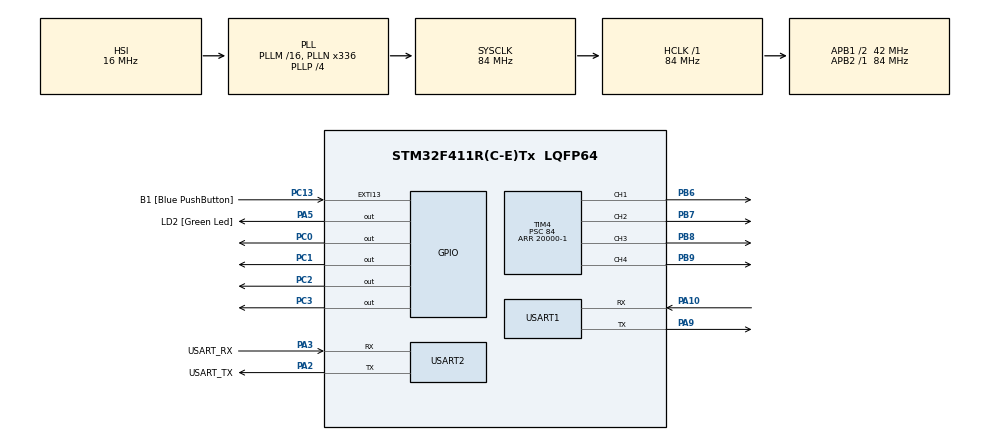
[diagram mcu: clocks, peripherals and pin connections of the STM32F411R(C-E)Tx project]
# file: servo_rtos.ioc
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Dma.Request0=USART1_RX
Dma.Request1=USART2_TX
Dma.USART1_RX.0.Direction=DMA_PERIPH_TO_MEMORY
Dma.USART1_RX.0.FIFOMode=DMA_FIFOMODE_DISABLE
Dma.USART1_RX.0.Instance=DMA2_Stream2
Dma.USART1_RX.0.MemDataAlignment=DMA_MDATAALIGN_BYTE
Dma.USART1_RX.0.MemInc=DMA_MINC_ENABLE
Dma.USART1_RX.0.Mode=DMA_NORMAL
Dma.USART1_RX.0.PeriphDataAlignment=DMA_PDATAALIGN_BYTE
Dma.USART1_RX.0.PeriphInc=DMA_PINC_DISABLE
Dma.USART1_RX.0.Priority=DMA_PRIORITY_LOW
Dma.USART2_TX.1.Direction=DMA_MEMORY_TO_PERIPH
Dma.USART2_TX.1.FIFOMode=DMA_FIFOMODE_DISABLE
Dma.USART2_TX.1.Instance=DMA1_Stream6
Dma.USART2_TX.1.MemDataAlignment=DMA_MDATAALIGN_BYTE
Dma.USART2_TX.1.MemInc=DMA_MINC_ENABLE
Dma.USART2_TX.1.Mode=DMA_NORMAL
Dma.USART2_TX.1.PeriphDataAlignment=DMA_PDATAALIGN_BYTE
Dma.USART2_TX.1.PeriphInc=DMA_PINC_DISABLE
Dma.USART2_TX.1.Priority=DMA_PRIORITY_LOW
FREERTOS.BinarySemaphores01=uartRxSem,Dynamic,NULL,Available;servo1StartSem,Dynamic,NULL,Available;servo2StartSem,Dynamic,NULL,Available;servo3StartSem,Dynamic,NULL,Available;servo4StartSem,Dynamic,NULL,Available;sequenceDoneSem,Dynamic,NULL,Available
FREERTOS.Tasks01=defaultTask,0,256,StartDefaultTask,Default,NULL,Dynamic,NULL,NULL;myTask02,-3,128,StartTask02,Default,NULL,Dynamic,NULL,NULL;myTask03,-3,128,StartTask03,Default,NULL,Dynamic,NULL,NULL;myTask04,-3,128,StartTask04,Default,NULL,Dynamic,NULL,NULL;myTask05,-3,128,StartTask05,Default,NULL,Dynamic,NULL,NULL
FREERTOS.configUSE_NEWLIB_REENTRANT=1
Mcu.Family=STM32F4
Mcu.Name=STM32F411R(C-E)Tx
Mcu.Package=LQFP64
NVIC.DMA1_Stream6_IRQn=true\:5\:0\:false\:false\:true\:true\:false\:true\:true
NVIC.DMA2_Stream2_IRQn=true\:5\:0\:false\:false\:true\:true\:false\:true\:true
NVIC.PriorityGroup=NVIC_PRIORITYGROUP_4
NVIC.TIM3_IRQn=true\:15\:0\:false\:false\:true\:false\:false\:true\:true
NVIC.TIM4_IRQn=true\:5\:0\:false\:false\:true\:true\:true\:true\:true
NVIC.TimeBase=TIM3_IRQn
NVIC.TimeBaseIP=TIM3
NVIC.USART1_IRQn=true\:5\:0\:false\:false\:true\:true\:true\:true\:true
PA10.Mode=Asynchronous
PA10.Signal=USART1_RX
PA13.GPIO_Label=TMS
PA13.Mode=Serial_Wire
PA13.Signal=SYS_JTMS-SWDIO
PA14.GPIO_Label=TCK
PA14.Mode=Serial_Wire
PA14.Signal=SYS_JTCK-SWCLK
PA2.GPIO_Label=USART_TX
PA2.Mode=Asynchronous
PA2.Signal=USART2_TX
PA3.GPIO_Label=USART_RX
PA3.Mode=Asynchronous
PA3.Signal=USART2_RX
PA5.GPIO_Label=LD2 [Green Led]
PA5.Signal=GPIO_Output
PA9.Mode=Asynchronous
PA9.Signal=USART1_TX
PB3.GPIO_Label=SWO
PB3.Signal=SYS_JTDO-SWO
PB6.Signal=S_TIM4_CH1
PB7.Signal=S_TIM4_CH2
PB8.Signal=S_TIM4_CH3
PB9.Signal=S_TIM4_CH4
PC0.Signal=GPIO_Output
PC1.Signal=GPIO_Output
PC13-ANTI_TAMP.GPIO_Label=B1 [Blue PushButton]
PC13-ANTI_TAMP.GPIO_ModeDefaultEXTI=GPIO_MODE_IT_FALLING
PC13-ANTI_TAMP.Signal=GPXTI13
PC14-OSC32_IN.Mode=LSE-External-Oscillator
PC14-OSC32_IN.Signal=RCC_OSC32_IN
PC15-OSC32_OUT.Mode=LSE-External-Oscillator
PC15-OSC32_OUT.Signal=RCC_OSC32_OUT
PC2.Signal=GPIO_Output
PC3.Signal=GPIO_Output
PH0\ -\ OSC_IN.Mode=HSE-External-Clock-Source
PH0\ -\ OSC_IN.Signal=RCC_OSC_IN
PH1\ -\ OSC_OUT.Mode=HSE-External-Clock-Source
PH1\ -\ OSC_OUT.Signal=RCC_OSC_OUT
ProjectManager.HeapSize=0x200
ProjectManager.StackSize=0x400
ProjectManager.TargetToolchain=STM32CubeIDE
RCC.48MHZClocksFreq_Value=84000000
RCC.AHBFreq_Value=84000000
RCC.APB1CLKDivider=RCC_HCLK_DIV2
RCC.APB1Freq_Value=42000000
RCC.APB1TimFreq_Value=84000000
RCC.APB2Freq_Value=84000000
RCC.APB2TimFreq_Value=84000000
RCC.CortexFreq_Value=84000000
RCC.FLatency-AdvancedSettings=FLASH_LATENCY_2
RCC.HCLKFreq_Value=84000000
RCC.HSE_VALUE=8000000
RCC.HSI_VALUE=16000000
RCC.PLLN=336
RCC.PLLP=RCC_PLLP_DIV4
RCC.SYSCLKFreq_VALUE=84000000
RCC.SYSCLKSource=RCC_SYSCLKSOURCE_PLLCLK
RCC.VCOOutputFreq_Value=336000000
SH.S_TIM4_CH1.0=TIM4_CH1,PWM Generation1 CH1
SH.S_TIM4_CH2.0=TIM4_CH2,PWM Generation2 CH2
SH.S_TIM4_CH3.0=TIM4_CH3,PWM Generation3 CH3
SH.S_TIM4_CH4.0=TIM4_CH4,PWM Generation4 CH4
TIM4.Channel-PWM\ Generation1\ CH1=TIM_CHANNEL_1
TIM4.Channel-PWM\ Generation2\ CH2=TIM_CHANNEL_2
TIM4.Channel-PWM\ Generation3\ CH3=TIM_CHANNEL_3
TIM4.Channel-PWM\ Generation4\ CH4=TIM_CHANNEL_4
TIM4.Period=20000-1
TIM4.Prescaler=84
TIM4.Pulse-PWM\ Generation1\ CH1=2000
TIM4.Pulse-PWM\ Generation2\ CH2=2000
TIM4.Pulse-PWM\ Generation3\ CH3=2000
USART1.VirtualMode=VM_ASYNC
USART2.VirtualMode=VM_ASYNC
VP_FREERTOS_VS_CMSIS_V1.Mode=CMSIS_V1
VP_SYS_VS_tim3.Mode=TIM3
board=NUCLEO-F411RE

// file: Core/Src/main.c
/* USER CODE BEGIN Header */
/**
  ******************************************************************************
  * @file           : main.c
  * @brief          : Main program body
  ******************************************************************************
  * @attention
  *
  * Copyright (c) 2025 STMicroelectronics.
  * All rights reserved.
  *
  * This software is licensed under terms that can be found in the LICENSE file
  * in the root directory of this software component.
  * If no LICENSE file comes with this software, it is provided AS-IS.
  *
  ******************************************************************************
  */
/* USER CODE END Header */
#include "main.h"
#include "cmsis_os.h"

/* USER CODE BEGIN Includes */
#include <stdio.h>
#include <string.h>
#include <stdlib.h>
/* USER CODE END Includes */

/* USER CODE BEGIN PTD */
#ifdef __GNUC__
/* With GCC, small printf (option LD Linker->Libraries->Small printf
   set to 'Yes') calls __io_putchar() */
#define PUTCHAR_PROTOTYPE int __io_putchar(int ch)
#else
#define PUTCHAR_PROTOTYPE int fputc(int ch, FILE *f)
#endif /* __GNUC__ */
/* USER CODE END PTD */

/* USER CODE BEGIN PD */
#define RX_BUF_LEN 256
#define ARR_CNT 5
/* USER CODE END PD */

TIM_HandleTypeDef htim4;

UART_HandleTypeDef huart1;
UART_HandleTypeDef huart2;
DMA_HandleTypeDef hdma_usart1_rx;
DMA_HandleTypeDef hdma_usart2_tx;

osThreadId defaultTaskHandle;
osThreadId myTask02Handle;
osThreadId myTask03Handle;
osThreadId myTask04Handle;
osThreadId myTask05Handle;
osSemaphoreId uartRxSemHandle;
osSemaphoreId servo1StartSemHandle;
osSemaphoreId servo2StartSemHandle;
osSemaphoreId servo3StartSemHandle;
osSemaphoreId servo4StartSemHandle;
osSemaphoreId sequenceDoneSemHandle;
/* USER CODE BEGIN PV */
//volatile int uartFlag = 0;
uint8_t rx_buf[RX_BUF_LEN];
int arrbuff[4] = {0};
char tx_buffer[40];
/* USER CODE END PV */

void SystemClock_Config(void);
static void MX_GPIO_Init(void);
static void MX_DMA_Init(void);
static void MX_USART2_UART_Init(void);
static void MX_TIM4_Init(void);
static void MX_USART1_UART_Init(void);
void StartDefaultTask(void const * argument);
void StartTask02(void const * argument);
void StartTask03(void const * argument);
void StartTask04(void const * argument);
void StartTask05(void const * argument);

int main(void)
{

  /* MCU Configuration--------------------------------------------------------*/

  /* Reset of all peripherals, Initializes the Flash interface and the Systick. */
  HAL_Init();

  /* Configure the system clock */
  SystemClock_Config();

  /* Initialize all configured peripherals */
  MX_GPIO_Init();
  MX_DMA_Init();
  MX_USART2_UART_Init();
  MX_TIM4_Init();
  MX_USART1_UART_Init();
  /* USER CODE BEGIN 2 */
  if(HAL_TIM_Base_Start_IT(&htim4) != HAL_OK) //인터럽트 시작
  	Error_Handler();

  if(HAL_TIM_PWM_Start(&htim4, TIM_CHANNEL_1) != HAL_OK)
	Error_Handler();
  if(HAL_TIM_PWM_Start(&htim4, TIM_CHANNEL_2) != HAL_OK)
	Error_Handler();
  if(HAL_TIM_PWM_Start(&htim4, TIM_CHANNEL_3) != HAL_OK)
	Error_Handler();
  if(HAL_TIM_PWM_Start(&htim4, TIM_CHANNEL_4) != HAL_OK)
	Error_Handler();

  HAL_UARTEx_ReceiveToIdle_DMA(&huart1, rx_buf, RX_BUF_LEN);//uart활성화

  /* USER CODE END 2 */

  /* Create the semaphores(s) */
  /* definition and creation of uartRxSem */
  osSemaphoreDef(uartRxSem);
  uartRxSemHandle = osSemaphoreCreate(osSemaphore(uartRxSem), 1);

  /* definition and creation of servo1StartSem */
  osSemaphoreDef(servo1StartSem);
  servo1StartSemHandle = osSemaphoreCreate(osSemaphore(servo1StartSem), 1);

  /* definition and creation of servo2StartSem */
  osSemaphoreDef(servo2StartSem);
  servo2StartSemHandle = osSemaphoreCreate(osSemaphore(servo2StartSem), 1);

  /* definition and creation of servo3StartSem */
  osSemaphoreDef(servo3StartSem);
  servo3StartSemHandle = osSemaphoreCreate(osSemaphore(servo3StartSem), 1);

  /* definition and creation of servo4StartSem */
  osSemaphoreDef(servo4StartSem);
  servo4StartSemHandle = osSemaphoreCreate(osSemaphore(servo4StartSem), 1);

  /* definition and creation of sequenceDoneSem */
  osSemaphoreDef(sequenceDoneSem);
  sequenceDoneSemHandle = osSemaphoreCreate(osSemaphore(sequenceDoneSem), 1);

  /* Create the thread(s) */
  /* definition and creation of defaultTask */
  osThreadDef(defaultTask, StartDefaultTask, osPriorityNormal, 0, 256);
  defaultTaskHandle = osThreadCreate(osThread(defaultTask), NULL);

  /* definition and creation of myTask02 */
  osThreadDef(myTask02, StartTask02, osPriorityIdle, 0, 128);
  myTask02Handle = osThreadCreate(osThread(myTask02), NULL);

  /* definition and creation of myTask03 */
  osThreadDef(myTask03, StartTask03, osPriorityIdle, 0, 128);
  myTask03Handle = osThreadCreate(osThread(myTask03), NULL);

  /* definition and creation of myTask04 */
  osThreadDef(myTask04, StartTask04, osPriorityIdle, 0, 128);
  myTask04Handle = osThreadCreate(osThread(myTask04), NULL);

  /* definition and creation of myTask05 */
  osThreadDef(myTask05, StartTask05, osPriorityIdle, 0, 128);
  myTask05Handle = osThreadCreate(osThread(myTask05), NULL);

  /* USER CODE BEGIN RTOS_THREADS */
  /* add threads, ... */
  osSemaphoreWait(uartRxSemHandle, 0);
  osSemaphoreWait(servo1StartSemHandle, 0);
  osSemaphoreWait(servo2StartSemHandle, 0);
  osSemaphoreWait(servo3StartSemHandle, 0);
  osSemaphoreWait(servo4StartSemHandle, 0);
  osSemaphoreWait(sequenceDoneSemHandle, 0);
  /* USER CODE END RTOS_THREADS */

  /* Start scheduler */
  osKernelStart();

  /* We should never get here as control is now taken by the scheduler */

  /* Infinite loop */
  while (1)
  {

  }
}

void SystemClock_Config(void)
{
  RCC_OscInitTypeDef RCC_OscInitStruct = {0};
  RCC_ClkInitTypeDef RCC_ClkInitStruct = {0};

  /** Configure the main internal regulator output voltage
  */
  __HAL_RCC_PWR_CLK_ENABLE();
  __HAL_PWR_VOLTAGESCALING_CONFIG(PWR_REGULATOR_VOLTAGE_SCALE1);

  /** Initializes the RCC Oscillators according to the specified parameters
  * in the RCC_OscInitTypeDef structure.
  */
  RCC_OscInitStruct.OscillatorType = RCC_OSCILLATORTYPE_HSI;
  RCC_OscInitStruct.HSIState = RCC_HSI_ON;
  RCC_OscInitStruct.HSICalibrationValue = RCC_HSICALIBRATION_DEFAULT;
  RCC_OscInitStruct.PLL.PLLState = RCC_PLL_ON;
  RCC_OscInitStruct.PLL.PLLSource = RCC_PLLSOURCE_HSI;
  RCC_OscInitStruct.PLL.PLLM = 16;
  RCC_OscInitStruct.PLL.PLLN = 336;
  RCC_OscInitStruct.PLL.PLLP = RCC_PLLP_DIV4;
  RCC_OscInitStruct.PLL.PLLQ = 4;
  if (HAL_RCC_OscConfig(&RCC_OscInitStruct) != HAL_OK)
  {
    Error_Handler();
  }

  /** Initializes the CPU, AHB and APB buses clocks
  */
  RCC_ClkInitStruct.ClockType = RCC_CLOCKTYPE_HCLK|RCC_CLOCKTYPE_SYSCLK
                              |RCC_CLOCKTYPE_PCLK1|RCC_CLOCKTYPE_PCLK2;
  RCC_ClkInitStruct.SYSCLKSource = RCC_SYSCLKSOURCE_PLLCLK;
  RCC_ClkInitStruct.AHBCLKDivider = RCC_SYSCLK_DIV1;
  RCC_ClkInitStruct.APB1CLKDivider = RCC_HCLK_DIV2;
  RCC_ClkInitStruct.APB2CLKDivider = RCC_HCLK_DIV1;

  if (HAL_RCC_ClockConfig(&RCC_ClkInitStruct, FLASH_LATENCY_2) != HAL_OK)
  {
    Error_Handler();
  }
}

static void MX_TIM4_Init(void)
{

  TIM_MasterConfigTypeDef sMasterConfig = {0};
  TIM_OC_InitTypeDef sConfigOC = {0};

  htim4.Instance = TIM4;
  htim4.Init.Prescaler = 84;
  htim4.Init.CounterMode = TIM_COUNTERMODE_UP;
  htim4.Init.Period = 20000-1;
  htim4.Init.ClockDivision = TIM_CLOCKDIVISION_DIV1;
  htim4.Init.AutoReloadPreload = TIM_AUTORELOAD_PRELOAD_DISABLE;
  if (HAL_TIM_PWM_Init(&htim4) != HAL_OK)
  {
    Error_Handler();
  }
  sMasterConfig.MasterOutputTrigger = TIM_TRGO_RESET;
  sMasterConfig.MasterSlaveMode = TIM_MASTERSLAVEMODE_DISABLE;
  if (HAL_TIMEx_MasterConfigSynchronization(&htim4, &sMasterConfig) != HAL_OK)
  {
    Error_Handler();
  }
  sConfigOC.OCMode = TIM_OCMODE_PWM1;
  sConfigOC.Pulse = 2000;
  sConfigOC.OCPolarity = TIM_OCPOLARITY_HIGH;
  sConfigOC.OCFastMode = TIM_OCFAST_DISABLE;
  if (HAL_TIM_PWM_ConfigChannel(&htim4, &sConfigOC, TIM_CHANNEL_1) != HAL_OK)
  {
    Error_Handler();
  }
  if (HAL_TIM_PWM_ConfigChannel(&htim4, &sConfigOC, TIM_CHANNEL_2) != HAL_OK)
  {
    Error_Handler();
  }
  if (HAL_TIM_PWM_ConfigChannel(&htim4, &sConfigOC, TIM_CHANNEL_3) != HAL_OK)
  {
    Error_Handler();
  }
  sConfigOC.Pulse = 0;
  if (HAL_TIM_PWM_ConfigChannel(&htim4, &sConfigOC, TIM_CHANNEL_4) != HAL_OK)
  {
    Error_Handler();
  }
  HAL_TIM_MspPostInit(&htim4);

}

static void MX_USART1_UART_Init(void)
{

  huart1.Instance = USART1;
  huart1.Init.BaudRate = 115200;
  huart1.Init.WordLength = UART_WORDLENGTH_8B;
  huart1.Init.StopBits = UART_STOPBITS_1;
  huart1.Init.Parity = UART_PARITY_NONE;
  huart1.Init.Mode = UART_MODE_TX_RX;
  huart1.Init.HwFlowCtl = UART_HWCONTROL_NONE;
  huart1.Init.OverSampling = UART_OVERSAMPLING_16;
  if (HAL_UART_Init(&huart1) != HAL_OK)
  {
    Error_Handler();
  }

}

static void MX_USART2_UART_Init(void)
{

  huart2.Instance = USART2;
  huart2.Init.BaudRate = 115200;
  huart2.Init.WordLength = UART_WORDLENGTH_8B;
  huart2.Init.StopBits = UART_STOPBITS_1;
  huart2.Init.Parity = UART_PARITY_NONE;
  huart2.Init.Mode = UART_MODE_TX_RX;
  huart2.Init.HwFlowCtl = UART_HWCONTROL_NONE;
  huart2.Init.OverSampling = UART_OVERSAMPLING_16;
  if (HAL_UART_Init(&huart2) != HAL_OK)
  {
    Error_Handler();
  }

}

static void MX_DMA_Init(void)
{

  /* DMA controller clock enable */
  __HAL_RCC_DMA2_CLK_ENABLE();
  __HAL_RCC_DMA1_CLK_ENABLE();

  /* DMA interrupt init */
  /* DMA1_Stream6_IRQn interrupt configuration */
  HAL_NVIC_SetPriority(DMA1_Stream6_IRQn, 5, 0);
  HAL_NVIC_EnableIRQ(DMA1_Stream6_IRQn);
  /* DMA2_Stream2_IRQn interrupt configuration */
  HAL_NVIC_SetPriority(DMA2_Stream2_IRQn, 5, 0);
  HAL_NVIC_EnableIRQ(DMA2_Stream2_IRQn);

}

static void MX_GPIO_Init(void)
{
  GPIO_InitTypeDef GPIO_InitStruct = {0};

  /* GPIO Ports Clock Enable */
  __HAL_RCC_GPIOC_CLK_ENABLE();
  __HAL_RCC_GPIOH_CLK_ENABLE();
  __HAL_RCC_GPIOA_CLK_ENABLE();
  __HAL_RCC_GPIOB_CLK_ENABLE();

  /*Configure GPIO pin Output Level */
  HAL_GPIO_WritePin(GPIOC, GPIO_PIN_0|GPIO_PIN_1|GPIO_PIN_2|GPIO_PIN_3, GPIO_PIN_RESET);

  /*Configure GPIO pin Output Level */
  HAL_GPIO_WritePin(LD2_GPIO_Port, LD2_Pin, GPIO_PIN_RESET);

  /*Configure GPIO pin : B1_Pin */
  GPIO_InitStruct.Pin = B1_Pin;
  GPIO_InitStruct.Mode = GPIO_MODE_IT_FALLING;
  GPIO_InitStruct.Pull = GPIO_NOPULL;
  HAL_GPIO_Init(B1_GPIO_Port, &GPIO_InitStruct);

  /*Configure GPIO pins : PC0 PC1 PC2 PC3 */
  GPIO_InitStruct.Pin = GPIO_PIN_0|GPIO_PIN_1|GPIO_PIN_2|GPIO_PIN_3;
  GPIO_InitStruct.Mode = GPIO_MODE_OUTPUT_PP;
  GPIO_InitStruct.Pull = GPIO_NOPULL;
  GPIO_InitStruct.Speed = GPIO_SPEED_FREQ_LOW;
  HAL_GPIO_Init(GPIOC, &GPIO_InitStruct);

  /*Configure GPIO pin : LD2_Pin */
  GPIO_InitStruct.Pin = LD2_Pin;
  GPIO_InitStruct.Mode = GPIO_MODE_OUTPUT_PP;
  GPIO_InitStruct.Pull = GPIO_NOPULL;
  GPIO_InitStruct.Speed = GPIO_SPEED_FREQ_LOW;
  HAL_GPIO_Init(LD2_GPIO_Port, &GPIO_InitStruct);

}

/* USER CODE BEGIN 4 */
void HAL_UARTEx_RxEventCallback(UART_HandleTypeDef *huart, uint16_t Size) //uart인터럽트
{
  if(huart->Instance==USART1){
    // rx_buf[0..Size-1] 가 이번 프레임
    // Circular 유지하려면: __HAL_DMA_DISABLE_IT(huart->hdmarx, DMA_IT_HT); // 선택
	  //uartFlag = 1;
	  HAL_UART_Transmit(&huart2, rx_buf, Size, 100);
	  osSemaphoreRelease(uartRxSemHandle);
	  HAL_UARTEx_ReceiveToIdle_DMA(&huart1, rx_buf, RX_BUF_LEN);
  }
}

void servo1(void)
{
	HAL_GPIO_WritePin(GPIOC, GPIO_PIN_0, GPIO_PIN_SET);
	osDelay(5000);
	__HAL_TIM_SetCompare(&htim4, TIM_CHANNEL_1, 1500); //-45도
	osDelay(1000);
	__HAL_TIM_SetCompare(&htim4, TIM_CHANNEL_1, 2000); //45도
	osDelay(5000);
	HAL_GPIO_WritePin(GPIOC, GPIO_PIN_0, GPIO_PIN_RESET);
}
void servo2(void)
{
	HAL_GPIO_WritePin(GPIOC, GPIO_PIN_1, GPIO_PIN_SET);
	osDelay(5000);
	__HAL_TIM_SetCompare(&htim4, TIM_CHANNEL_2, 1500); //-45도
	osDelay(1000);

	__HAL_TIM_SetCompare(&htim4, TIM_CHANNEL_2, 2000); //45도
	osDelay(5000);
	HAL_GPIO_WritePin(GPIOC, GPIO_PIN_1, GPIO_PIN_RESET);
}
void servo3(void)
{
	HAL_GPIO_WritePin(GPIOC, GPIO_PIN_2, GPIO_PIN_SET);
	osDelay(5000);
	__HAL_TIM_SetCompare(&htim4, TIM_CHANNEL_3, 1500); //-45도
	osDelay(1000);

	__HAL_TIM_SetCompare(&htim4, TIM_CHANNEL_3, 2000); //45도
	osDelay(5000);
	HAL_GPIO_WritePin(GPIOC, GPIO_PIN_2, GPIO_PIN_RESET);
}
void servo4(void)
{
	HAL_GPIO_WritePin(GPIOC, GPIO_PIN_3, GPIO_PIN_SET);
	osDelay(5000);
	__HAL_TIM_SetCompare(&htim4, TIM_CHANNEL_4, 1500); //-45도
	osDelay(1000);

	__HAL_TIM_SetCompare(&htim4, TIM_CHANNEL_4, 2000); //45도
	osDelay(5000);
	HAL_GPIO_WritePin(GPIOC, GPIO_PIN_3, GPIO_PIN_RESET);
}

PUTCHAR_PROTOTYPE
{
  /* Place your implementation of fputc here */
  /* e.g. write a character to the USART6 and Loop until the end of transmission */
  HAL_UART_Transmit(&huart2, (uint8_t *)&ch, 1, 0xFFFF);

  return ch;
}
/* USER CODE END 4 */

void StartDefaultTask(void const * argument)
{
  /* USER CODE BEGIN 5 */
  /* Infinite loop */
  for(;;)
  {
	  osSemaphoreWait(uartRxSemHandle, osWaitForever);

	int i=0;
	char * pToken;
	char * pArray[ARR_CNT]={0};
	//int arrbuff[4] = {0};
	pToken = strtok(rx_buf,"@");
	while(pToken != NULL)
	{
		pArray[i] =  pToken;
		if(++i >= ARR_CNT)
		  break;
		pToken = strtok(NULL,"@");
	}
	for(int j =0; j<sizeof(arrbuff)/sizeof(int); j++)
	{
		arrbuff[j]= atoi(pArray[j]);
		printf("arrbuff[%d]-> %d\r\n",j,arrbuff[j]);
	}
	memset(rx_buf, 0, RX_BUF_LEN);

	osSemaphoreRelease(servo1StartSemHandle);
	osSemaphoreWait(sequenceDoneSemHandle, osWaitForever);
  }
  /* USER CODE END 5 */
}

void StartTask02(void const * argument)
{
  /* USER CODE BEGIN StartTask02 */
  /* Infinite loop */
  for(;;)
  {
	osSemaphoreWait(servo1StartSemHandle, osWaitForever);
	if (arrbuff[0])
	{
		strcpy(tx_buffer, "Moisture@Yes@\r\n");
		HAL_UART_Transmit(&huart1, (uint8_t*)tx_buffer, strlen(tx_buffer), 100);
		servo1();
	}
	else
	{
		strcpy(tx_buffer, "Moisture@No@\r\n");
		HAL_UART_Transmit(&huart1, (uint8_t*)tx_buffer, strlen(tx_buffer), 100);
	}
	osSemaphoreRelease(servo2StartSemHandle);
  }
  /* USER CODE END StartTask02 */
}

void StartTask03(void const * argument)
{
  /* USER CODE BEGIN StartTask03 */
  /* Infinite loop */
  for(;;)
  {
	osSemaphoreWait(servo2StartSemHandle, osWaitForever);
	if (arrbuff[1])
	{
		strcpy(tx_buffer, "Elasticity@Yes@\r\n");
		HAL_UART_Transmit(&huart1, (uint8_t*)tx_buffer, strlen(tx_buffer), 100);
		servo2();
	}
	else
	{
		strcpy(tx_buffer, "Elasticity@No@\r\n");
		HAL_UART_Transmit(&huart1, (uint8_t*)tx_buffer, strlen(tx_buffer), 100);
	}
	osSemaphoreRelease(servo3StartSemHandle);
  }
  /* USER CODE END StartTask03 */
}

void StartTask04(void const * argument)
{
  /* USER CODE BEGIN StartTask04 */
  /* Infinite loop */
  for(;;)
  {
	  osSemaphoreWait(servo3StartSemHandle, osWaitForever);
	if (arrbuff[2])
	{
		strcpy(tx_buffer, "Whitening@Yes@\r\n");
		HAL_UART_Transmit(&huart1, (uint8_t*)tx_buffer, strlen(tx_buffer), 100);
		servo3();
	}
	else
	{
		strcpy(tx_buffer, "Whitening@No@\r\n");
		HAL_UART_Transmit(&huart1, (uint8_t*)tx_buffer, strlen(tx_buffer), 100);
	}
	osSemaphoreRelease(servo4StartSemHandle);
  }
  /* USER CODE END StartTask04 */
}

void StartTask05(void const * argument)
{
  /* USER CODE BEGIN StartTask05 */
  /* Infinite loop */
  for(;;)
  {
	  osSemaphoreWait(servo4StartSemHandle, osWaitForever);
	if (arrbuff[3])
	{
		strcpy(tx_buffer, "Pore@Yes@\r\n");
		HAL_UART_Transmit(&huart1, (uint8_t*)tx_buffer, strlen(tx_buffer), 100);
		servo4();
		strcpy(tx_buffer, "END\r\n");
		HAL_UART_Transmit(&huart1, (uint8_t*)tx_buffer, strlen(tx_buffer), 100);
	}
	else
	{
		strcpy(tx_buffer, "Pore@No@\r\n");
		HAL_UART_Transmit(&huart1, (uint8_t*)tx_buffer, strlen(tx_buffer), 100);
		osDelay(1000);
		strcpy(tx_buffer, "END\r\n");
		HAL_UART_Transmit(&huart1, (uint8_t*)tx_buffer, strlen(tx_buffer), 100);
	}
	osSemaphoreRelease(sequenceDoneSemHandle);
  }
  /* USER CODE END StartTask05 */
}

void HAL_TIM_PeriodElapsedCallback(TIM_HandleTypeDef *htim)
{
  if (htim->Instance == TIM3)
  {
    HAL_IncTick();
  }
}

void Error_Handler(void)
{
  __disable_irq();
  while (1)
  {
  }
}
